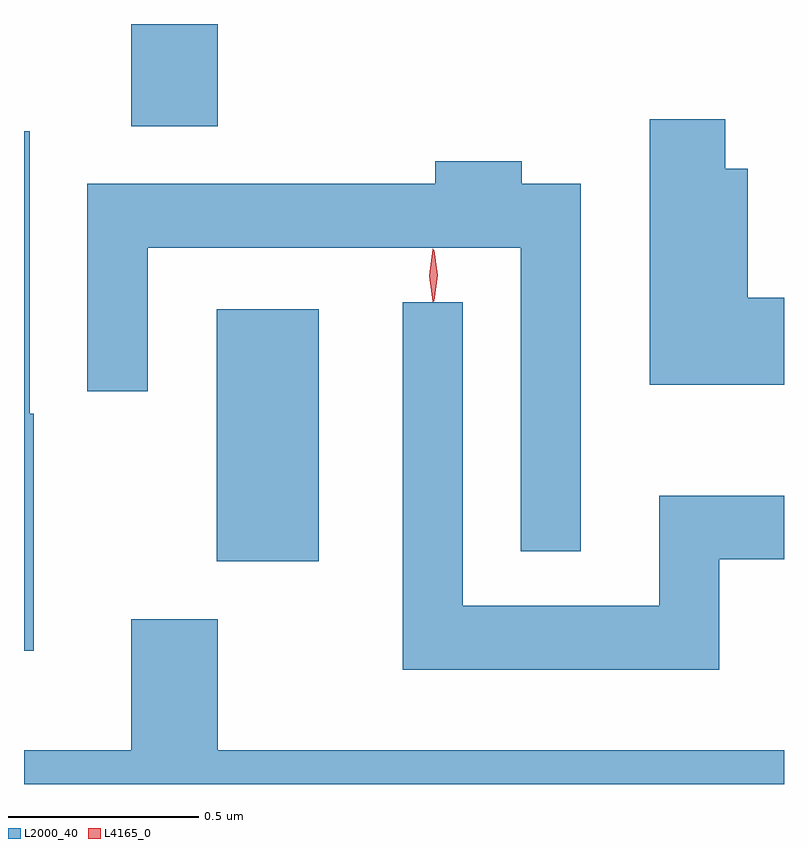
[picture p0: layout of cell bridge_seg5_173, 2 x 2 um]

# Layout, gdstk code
import gdstk
lib = gdstk.Library(unit=1e-6, precision=1e-09)
def R(c, l, rs):  # rectangles x0, y0, x1, y1
    for r in rs: c.add(gdstk.rectangle(r[:2], r[2:], *l))
def P(c, l, *ps):  # polygons
    for p in ps: c.add(gdstk.Polygon(p, *l))
L2000_40 = (2000, 40)
L4165_0 = (4165, 0)

bridge_seg5_173 = lib.new_cell('bridge_seg5_173')
R(bridge_seg5_173, L2000_40, [(1191.326,1422.041,1191.594,1422.704), (1191.101,1423.186,1191.329,1423.455)])
P(bridge_seg5_173, L2000_40, [(1192.819,1422.734),(1192.724,1422.734),(1192.724,1423.074),(1192.664,1423.074),(1192.664,1423.204),(1192.466,1423.204),(1192.466,1422.506),(1192.819,1422.506)],
  [(1190.844,1422.43),(1190.834,1422.43),(1190.834,1423.173),(1190.819,1423.173),(1190.819,1421.806),(1190.844,1421.806)],
  [(1192.284,1423.034),(1192.129,1423.034),(1192.129,1423.094),(1191.901,1423.094),(1191.901,1423.034),(1190.986,1423.034),(1190.986,1422.488),(1191.144,1422.488),(1191.144,1422.866),(1192.126,1422.866),(1192.126,1422.068),(1192.284,1422.068)],
  [(1192.649,1422.046),(1192.819,1422.046),(1192.819,1422.214),(1192.491,1422.214),(1192.491,1421.924),(1191.974,1421.924),(1191.974,1422.723),(1191.816,1422.723),(1191.816,1421.756),(1192.649,1421.756)],
  [(1192.819,1421.544),(1191.329,1421.544),(1191.329,1421.889),(1191.101,1421.889),(1191.101,1421.544),(1190.819,1421.544),(1190.819,1421.455),(1192.819,1421.455)])
P(bridge_seg5_173, L4165_0, [(1191.897,1422.727),(1191.888,1422.794),(1191.897,1422.86),(1191.898,1422.86),(1191.898,1422.86),(1191.908,1422.794),(1191.898,1422.727),(1191.898,1422.727)],
  [(1191.894,1422.724),(1191.885,1422.793),(1191.894,1422.862),(1191.895,1422.863),(1191.896,1422.862),(1191.905,1422.793),(1191.896,1422.724),(1191.895,1422.724)])

lib.write_gds('bridge_seg5_173.gds')
